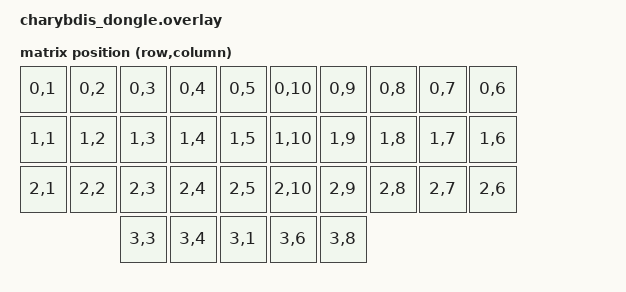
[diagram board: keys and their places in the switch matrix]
// #include "charybdis_dongle.dtsi"
#include <dt-bindings/zmk/matrix_transform.h>
// #include "charybdis_dongle_pmw3610.dtsi"
#include "split_input.dtsi"

/ {
    chosen {
        zmk,kscan = &mock_kscan;
        zmk,matrix_transform = &default_transform;
        zephyr,display = &oled;
    };

    // physical_layout0: physical_layout_0 {
        //     compatible = "zmk,physical-layout";
        //     display-name = "Default Layout";
        //     transform = <&default_transform>;
    // };

    default_transform: keymap_transform_0 {
        compatible = "zmk,matrix-transform";
        columns = <10>;
        rows = <4>;

        map = <
	    RC(0,1) RC(0,2) RC(0,3) RC(0,4) RC(0,5)  RC(0,10) RC(0,9) RC(0,8) RC(0,7) RC(0,6)
	    RC(1,1) RC(1,2) RC(1,3) RC(1,4) RC(1,5)  RC(1,10) RC(1,9) RC(1,8) RC(1,7) RC(1,6)
	    RC(2,1) RC(2,2) RC(2,3) RC(2,4) RC(2,5)  RC(2,10) RC(2,9) RC(2,8) RC(2,7) RC(2,6)
					    RC(3,3) RC(3,4) RC(3,1)  RC(3,6)  RC(3,8)
        >;
    };

    mock_kscan: mock_kscan_0 {
        compatible = "zmk,kscan-mock";
        columns = <0>;
        rows = <0>;
        events = <0>;
    };
};

&trackball_listener {
    status = "okay";
};

&pro_micro_i2c {
    status = "okay";

    oled: ssd1306@3c {
        compatible = "solomon,ssd1306fb";
        reg = <0x3c>;
        width = <128>;
        height = <160>;
        segment-offset = <0>;
        page-offset = <0>;
        display-offset = <0>;
        multiplex-ratio = <31>;
        segment-remap;
        com-invdir;
        com-sequential;
        inversion-on;
        prechargep = <0x22>;
    };
};

// &pro_micro_spi {
    //     status = "okay";
    //     cs-gpios = <&pro_micro 15 GPIO_ACTIVE_LOW>;

    //     oled: st7789v@0 {
        //         compatible = "sitronix,st7789v";
        //         status = "okay";
        //         reg = <0>;
        //         cmd-data-gpios = <&gpio0 16 GPIO_ACTIVE_LOW>;
        //         reset-gpios = <&gpio0 14 GPIO_ACTIVE_LOW>;
        //         spi-max-frequency = <10000000>;
        //         width = <128>;
        //         height = <160>;
        //         x-offset = <2>;
        //         y-offset = <1>;
        //         vcom = <0x19>;
        //         gctrl = <0x35>;
        //         vrhs = <0x12>;
        //         vdvs = <0x20>;
        //         mdac = <0xC0>;
        //         lcm = <0x2c>;
        //         colmod = <0x05>;
        //         gamma = <0x01>;
        //         porch-param = [ 0c 0c 00 33 33  ];
        //         cmd2en-param = [ 5a 69 02 01  ];
        //         pwctrl1-param = [ a4 a1  ];
        //         pvgam-param = [ D0 04 0D 11 13 2B 3F 54 4C 18 0D 0B 1F 23  ];
        //         nvgam-param = [ D0 04 0C 11 13 2C 3F 44 51 2F 1F 1F 20 23  ];
        //         ram-param = [ 00 F0  ];
        //         rgb-param = [ CD 08 14  ];
    //     };
// };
